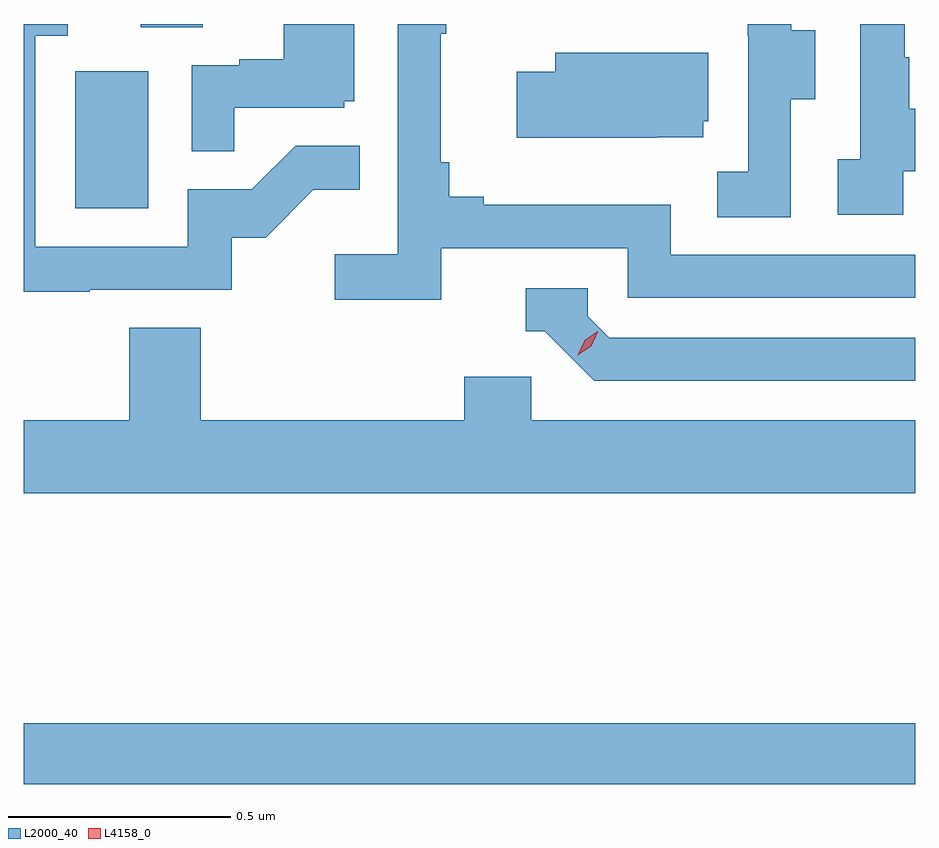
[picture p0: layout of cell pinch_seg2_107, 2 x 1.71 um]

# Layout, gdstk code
import gdstk
lib = gdstk.Library(unit=1e-6, precision=1e-09)
def R(c, l, rs):  # rectangles x0, y0, x1, y1
    for r in rs: c.add(gdstk.rectangle(r[:2], r[2:], *l))
def P(c, l, *ps):  # polygons
    for p in ps: c.add(gdstk.Polygon(p, *l))
L2000_40 = (2000, 40)
L4158_0 = (4158, 0)

pinch_seg2_107 = lib.new_cell('pinch_seg2_107')
R(pinch_seg2_107, L2000_40, [(1036.333,633.664,1038.333,633.8), (1036.448,634.956,1036.612,635.263), (1036.595,635.362,1036.735,635.369)])
P(pinch_seg2_107, L2000_40, [(1036.481,634.773),(1036.8,634.773),(1036.8,634.89),(1036.876,634.89),(1036.983,634.997),(1037.087,634.997),(1037.087,635.096),(1036.943,635.096),(1036.845,634.998),(1036.701,634.998),(1036.701,634.869),(1036.359,634.869),(1036.359,635.343),(1036.432,635.343),(1036.432,635.369),(1036.333,635.369),(1036.333,634.768),(1036.481,634.768)],
  [(1036.805,635.181),(1037.052,635.181),(1037.052,635.196),(1037.074,635.196),(1037.074,635.369),(1036.916,635.369),(1036.916,635.29),(1036.817,635.29),(1036.817,635.277),(1036.71,635.277),(1036.71,635.083),(1036.805,635.083)],
  [(1038.054,635.2),(1038.109,635.2),(1038.109,635.355),(1038.055,635.355),(1038.055,635.369),(1037.957,635.369),(1037.957,635.343),(1037.958,635.343),(1037.958,635.037),(1037.889,635.037),(1037.889,634.936),(1038.054,634.936)],
  [(1038.306,635.039),(1038.333,635.039),(1038.333,635.179),(1038.319,635.179),(1038.319,635.294),(1038.309,635.294),(1038.309,635.369),(1038.21,635.369),(1038.21,635.066),(1038.159,635.066),(1038.159,634.941),(1038.306,634.941)],
  [(1037.27,634.866),(1037.688,634.866),(1037.688,634.755),(1038.333,634.755),(1038.333,634.851),(1037.784,634.851),(1037.784,634.963),(1037.365,634.963),(1037.365,634.982),(1037.288,634.982),(1037.288,635.059),(1037.269,635.059),(1037.269,635.347),(1037.281,635.347),(1037.281,635.369),(1037.172,635.369),(1037.172,634.852),(1037.031,634.852),(1037.031,634.75),(1037.27,634.75)],
  [(1037.753,635.115),(1037.857,635.115),(1037.857,635.151),(1037.869,635.151),(1037.869,635.305),(1037.525,635.305),(1037.525,635.262),(1037.439,635.262),(1037.439,635.114),(1037.753,635.114)],
  [(1038.333,634.665),(1037.646,634.665),(1037.598,634.713),(1037.598,634.776),(1037.459,634.776),(1037.459,634.68),(1037.502,634.68),(1037.613,634.569),(1038.333,634.569)],
  [(1038.333,634.48),(1037.472,634.48),(1037.472,634.578),(1037.321,634.578),(1037.321,634.48),(1036.73,634.48),(1036.73,634.688),(1036.57,634.688),(1036.57,634.48),(1036.333,634.48),(1036.333,634.316),(1038.333,634.316)])
P(pinch_seg2_107, L4158_0, [(1037.576,634.626),(1037.576,634.626),(1037.591,634.659),(1037.621,634.68),(1037.621,634.68),(1037.621,634.679),(1037.606,634.646),(1037.576,634.626)])

lib.write_gds('pinch_seg2_107.gds')
